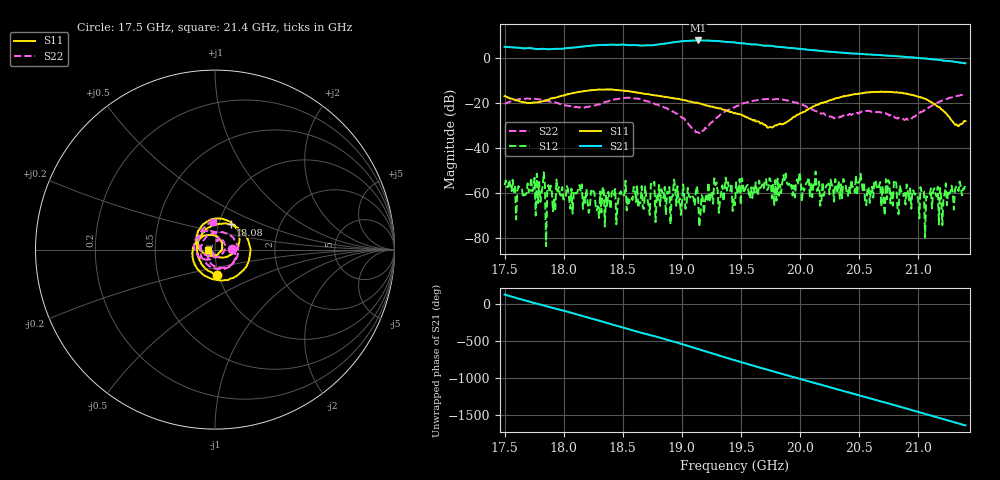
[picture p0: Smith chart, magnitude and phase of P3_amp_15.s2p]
!Created with skrf (http://scikit-rf.org).
# GHz S RI R 50.0
!freq ReS11 ImS11 ReS21 ImS21 ReS12 ImS12 ReS22 ImS22
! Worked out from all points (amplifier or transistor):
!   401 points, 17.5 GHz to 21.4 GHz, reference 50 ohm
!   highest |S21| = 7.7 dB at 19.14 GHz (marker M1)
!   |S21| within 3 dB of that: 18.11 GHz to 19.86 GHz (1.749 GHz wide, 9.21 % of centre) (the widest 1 of 2)
!   unconditionally stable (mu >= 1): start of sweep to end of sweep
!   at 18.14 GHz: K = 241.48, MAG = 5.1 dB, |S12| = -58.9 dB
!   at 19.45 GHz: K = 416.36, MAG = 6.8 dB, |S12| = -65.3 dB
!   at 21.4 GHz: K = 379.20, MAG = -2.3 dB, |S12| = -55.4 dB
!   S11 on the Smith chart (normalised r, x): 17.5 GHz: 0.98, -0.28; 18.08 GHz: 1.14, +0.33; 21.4 GHz: 0.92, -0.00
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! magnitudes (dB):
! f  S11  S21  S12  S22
! 17.5 GHz  -17.0  4.8  -56.4  -20.4
! 18.08 GHz  -15.7  4.4  -69.0  -21.5
! 18.15 GHz  -15.0  5.0  -56.1  -22.0
! 18.3 GHz  -14.1  5.7  -71.0  -20.8
! 18.5 GHz  -14.5  5.8  -61.4  -17.9
! 18.81 GHz  -16.9  6.0  -56.4  -21.1
! 19.14 GHz  -20.0  7.7  -62.5  -33.1
! 19.17 GHz  -20.5  7.7  -60.9  -32.9
! 19.27 GHz  -22.0  7.5  -53.4  -27.6
! 19.33 GHz  -22.5  7.3  -60.0  -24.8
! 19.38 GHz  -23.5  7.0  -58.9  -23.5
! 19.45 GHz  -24.5  6.8  -65.3  -21.8
! 19.75 GHz  -30.8  5.3  -54.8  -18.3
! 20.1 GHz  -21.9  3.4  -61.8  -22.9
! 20.49 GHz  -15.9  1.8  -55.3  -24.7
! 20.57 GHz  -15.4  1.5  -57.8  -23.6
! 20.65 GHz  -15.0  1.3  -57.3  -24.1
! 20.76 GHz  -15.1  0.9  -55.2  -25.6
! 21.08 GHz  -18.7  -0.4  -61.6  -22.5
! 21.15 GHz  -20.7  -0.8  -60.3  -20.2
! 21.2 GHz  -22.8  -1.1  -62.0  -19.2
! 21.4 GHz  -28.1  -2.4  -55.4  -16.1
